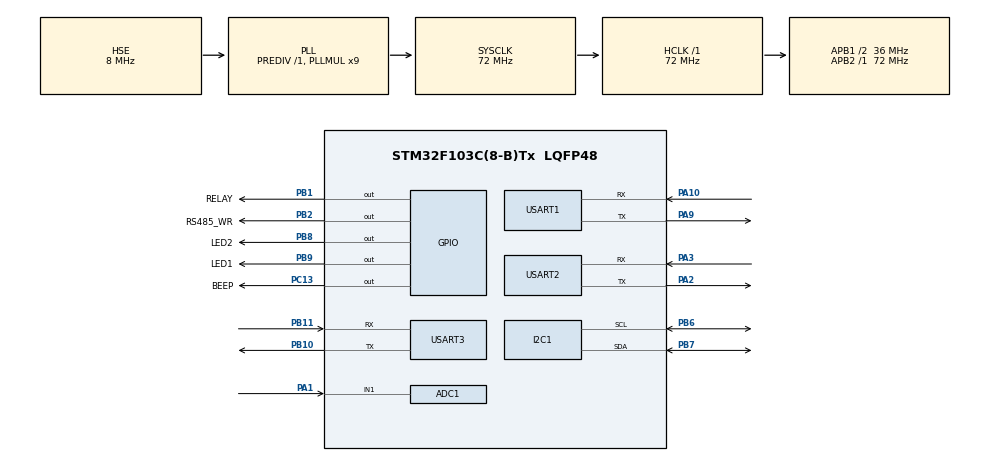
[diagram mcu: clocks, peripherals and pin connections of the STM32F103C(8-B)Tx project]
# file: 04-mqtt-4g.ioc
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ADC1.Channel-6\#ChannelRegularConversion=ADC_CHANNEL_TEMPSENSOR
ADC1.NbrOfConversionFlag=1
ADC1.Rank-6\#ChannelRegularConversion=1
ADC1.SamplingTime-6\#ChannelRegularConversion=ADC_SAMPLETIME_239CYCLES_5
ADC1.master=1
Dma.Request0=USART3_RX
Dma.USART3_RX.0.Direction=DMA_PERIPH_TO_MEMORY
Dma.USART3_RX.0.Instance=DMA1_Channel3
Dma.USART3_RX.0.MemDataAlignment=DMA_MDATAALIGN_BYTE
Dma.USART3_RX.0.MemInc=DMA_MINC_ENABLE
Dma.USART3_RX.0.Mode=DMA_CIRCULAR
Dma.USART3_RX.0.PeriphDataAlignment=DMA_PDATAALIGN_BYTE
Dma.USART3_RX.0.PeriphInc=DMA_PINC_DISABLE
Dma.USART3_RX.0.Priority=DMA_PRIORITY_HIGH
Mcu.Family=STM32F1
Mcu.Name=STM32F103C(8-B)Tx
Mcu.Package=LQFP48
NVIC.DMA1_Channel3_IRQn=true\:0\:0\:false\:false\:true\:false\:true\:true
NVIC.PriorityGroup=NVIC_PRIORITYGROUP_4
NVIC.TIM1_UP_IRQn=true\:0\:0\:false\:false\:true\:true\:true\:true
NVIC.TIM3_IRQn=true\:2\:0\:true\:false\:false\:true\:true\:true
NVIC.TIM4_IRQn=true\:0\:0\:false\:false\:true\:true\:true\:true
NVIC.USART2_IRQn=true\:0\:0\:false\:false\:false\:true\:true\:true
NVIC.USART3_IRQn=true\:0\:0\:false\:false\:true\:true\:true\:true
PA1.Signal=ADCx_IN1
PA10.Mode=Asynchronous
PA10.Signal=USART1_RX
PA13.Mode=Serial_Wire
PA13.Signal=SYS_JTMS-SWDIO
PA14.Mode=Serial_Wire
PA14.Signal=SYS_JTCK-SWCLK
PA2.Mode=Asynchronous
PA2.Signal=USART2_TX
PA3.Mode=Asynchronous
PA3.Signal=USART2_RX
PA9.Mode=Asynchronous
PA9.Signal=USART1_TX
PB1.GPIO_Label=RELAY
PB1.Signal=GPIO_Output
PB10.Mode=Asynchronous
PB10.Signal=USART3_TX
PB11.Mode=Asynchronous
PB11.Signal=USART3_RX
PB2.GPIO_Label=RS485_WR
PB2.GPIO_Speed=GPIO_SPEED_FREQ_MEDIUM
PB2.Signal=GPIO_Output
PB6.Mode=I2C
PB6.Signal=I2C1_SCL
PB7.Mode=I2C
PB7.Signal=I2C1_SDA
PB8.GPIO_Label=LED2
PB8.PinState=GPIO_PIN_SET
PB8.Signal=GPIO_Output
PB9.GPIO_Label=LED1
PB9.PinState=GPIO_PIN_SET
PB9.Signal=GPIO_Output
PC13-TAMPER-RTC.GPIO_Label=BEEP
PC13-TAMPER-RTC.Signal=GPIO_Output
PD0-OSC_IN.Mode=HSE-External-Oscillator
PD0-OSC_IN.Signal=RCC_OSC_IN
PD1-OSC_OUT.Mode=HSE-External-Oscillator
PD1-OSC_OUT.Signal=RCC_OSC_OUT
ProjectManager.HeapSize=0x200
ProjectManager.StackSize=0x400
ProjectManager.TargetToolchain=MDK-ARM V5.32
RCC.ADCPresc=RCC_ADCPCLK2_DIV6
RCC.AHBFreq_Value=72000000
RCC.APB1CLKDivider=RCC_HCLK_DIV2
RCC.APB1Freq_Value=36000000
RCC.APB1TimFreq_Value=72000000
RCC.APB2Freq_Value=72000000
RCC.APB2TimFreq_Value=72000000
RCC.HCLKFreq_Value=72000000
RCC.PLLMUL=RCC_PLL_MUL9
RCC.PLLSourceVirtual=RCC_PLLSOURCE_HSE
RCC.RTCClockSelection=RCC_RTCCLKSOURCE_LSE
RCC.SYSCLKFreq_VALUE=72000000
RCC.SYSCLKSource=RCC_SYSCLKSOURCE_PLLCLK
RCC.USBFreq_Value=72000000
SH.ADCx_IN1.0=ADC1_IN1,IN1
TIM1.AutoReloadPreload=TIM_AUTORELOAD_PRELOAD_ENABLE
TIM1.Period=5000
TIM1.Prescaler=7200-1
TIM3.AutoReloadPreload=TIM_AUTORELOAD_PRELOAD_ENABLE
TIM3.Period=100
TIM3.Prescaler=3599
TIM4.AutoReloadPreload=TIM_AUTORELOAD_PRELOAD_DISABLE
TIM4.Period=100
TIM4.Prescaler=7200-1
USART1.VirtualMode=VM_ASYNC
USART2.VirtualMode=VM_ASYNC
USART3.VirtualMode=VM_ASYNC
VP_ADC1_TempSens_Input.Mode=IN-TempSens
VP_TIM1_VS_ClockSourceINT.Mode=Internal
VP_TIM3_VS_ClockSourceINT.Mode=Internal
VP_TIM4_VS_ClockSourceINT.Mode=Internal
board=custom

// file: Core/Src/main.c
/* USER CODE BEGIN Header */
/**
  ******************************************************************************
  * @file           : main.c
  * @brief          : Main program body
  ******************************************************************************
  * @attention
  *
  * Copyright (c) 2025 STMicroelectronics.
  * All rights reserved.
  *
  * This software is licensed under terms that can be found in the LICENSE file
  * in the root directory of this software component.
  * If no LICENSE file comes with this software, it is provided AS-IS.
  *
  ******************************************************************************
  */
/* USER CODE END Header */
#include "main.h"
#include "adc.h"
#include "dma.h"
#include "i2c.h"
#include "tim.h"
#include "usart.h"
#include "gpio.h"

/* USER CODE BEGIN Includes */
#include <stdio.h>
#include "oled.h"
#include "aht20.h"
#include "ina226.h"
#include "mb.h"
#include "modbus.h"
#include "wifi4g.h"
#include "fifo.h"
#include "mqtt.h"
/* USER CODE END Includes */

void SystemClock_Config(void);

int main(void)
{

  /* MCU Configuration--------------------------------------------------------*/

  /* Reset of all peripherals, Initializes the Flash interface and the Systick. */
  HAL_Init();

  /* Configure the system clock */
  SystemClock_Config();

  /* Initialize all configured peripherals */
  MX_GPIO_Init();
  MX_DMA_Init();
  MX_USART1_UART_Init();
  MX_I2C1_Init();
  MX_ADC1_Init();
  MX_TIM3_Init();
  MX_TIM1_Init();
  MX_USART3_UART_Init();
  MX_TIM4_Init();
  MX_USART2_UART_Init();
  /* USER CODE BEGIN 2 */

	HAL_Delay(400); // 延时给 esp8266 打印日志

	__HAL_UART_ENABLE_IT(&huart3, UART_IT_IDLE); //使能串UART3 IDLE(空闲)中断
	HAL_UART_Receive_DMA(&huart3, RX3_Buf, DMA_BUF_SIZE); //设置DMA传输，将uart3的数据搬运到RX3_Buf中

	printf("Uart1 init is ok\n");
	printf("WIFI 4G Test\n");

	OLED_Init();
	OLED_CLS(); // 清除屏幕显示
	OLED_ShowStr(16,0, (unsigned char*)"WIFI 4G Test", 2);
	AHT20_Init();
	INA226_Init();
	Queue_Init(&QUART3);// 队列初始化
	MQTT_Connect_Server();
	HAL_TIM_Base_Start_IT(&htim1);

	Modbus_Init();
  /* USER CODE END 2 */

  /* Infinite loop */
  /* USER CODE BEGIN WHILE */
  while (1)
  {
		eMBPoll();// 轮训查询
		Modbus_Parse(); // 500ms 周期性刷新
		if(MQTT_UPLoad_Flag)
		{
			MQTT_UPLoad_Flag = 0;
			MQTT_SendData();
		}
    /* USER CODE END WHILE */

  }
}

void SystemClock_Config(void)
{
  RCC_OscInitTypeDef RCC_OscInitStruct = {0};
  RCC_ClkInitTypeDef RCC_ClkInitStruct = {0};
  RCC_PeriphCLKInitTypeDef PeriphClkInit = {0};

  /** Initializes the RCC Oscillators according to the specified parameters
  * in the RCC_OscInitTypeDef structure.
  */
  RCC_OscInitStruct.OscillatorType = RCC_OSCILLATORTYPE_HSE;
  RCC_OscInitStruct.HSEState = RCC_HSE_ON;
  RCC_OscInitStruct.HSEPredivValue = RCC_HSE_PREDIV_DIV1;
  RCC_OscInitStruct.HSIState = RCC_HSI_ON;
  RCC_OscInitStruct.PLL.PLLState = RCC_PLL_ON;
  RCC_OscInitStruct.PLL.PLLSource = RCC_PLLSOURCE_HSE;
  RCC_OscInitStruct.PLL.PLLMUL = RCC_PLL_MUL9;
  if (HAL_RCC_OscConfig(&RCC_OscInitStruct) != HAL_OK)
  {
    Error_Handler();
  }

  /** Initializes the CPU, AHB and APB buses clocks
  */
  RCC_ClkInitStruct.ClockType = RCC_CLOCKTYPE_HCLK|RCC_CLOCKTYPE_SYSCLK
                              |RCC_CLOCKTYPE_PCLK1|RCC_CLOCKTYPE_PCLK2;
  RCC_ClkInitStruct.SYSCLKSource = RCC_SYSCLKSOURCE_PLLCLK;
  RCC_ClkInitStruct.AHBCLKDivider = RCC_SYSCLK_DIV1;
  RCC_ClkInitStruct.APB1CLKDivider = RCC_HCLK_DIV2;
  RCC_ClkInitStruct.APB2CLKDivider = RCC_HCLK_DIV1;

  if (HAL_RCC_ClockConfig(&RCC_ClkInitStruct, FLASH_LATENCY_2) != HAL_OK)
  {
    Error_Handler();
  }
  PeriphClkInit.PeriphClockSelection = RCC_PERIPHCLK_ADC;
  PeriphClkInit.AdcClockSelection = RCC_ADCPCLK2_DIV6;
  if (HAL_RCCEx_PeriphCLKConfig(&PeriphClkInit) != HAL_OK)
  {
    Error_Handler();
  }
}

void Error_Handler(void)
{
  __disable_irq();
  while (1)
  {
  }
}
